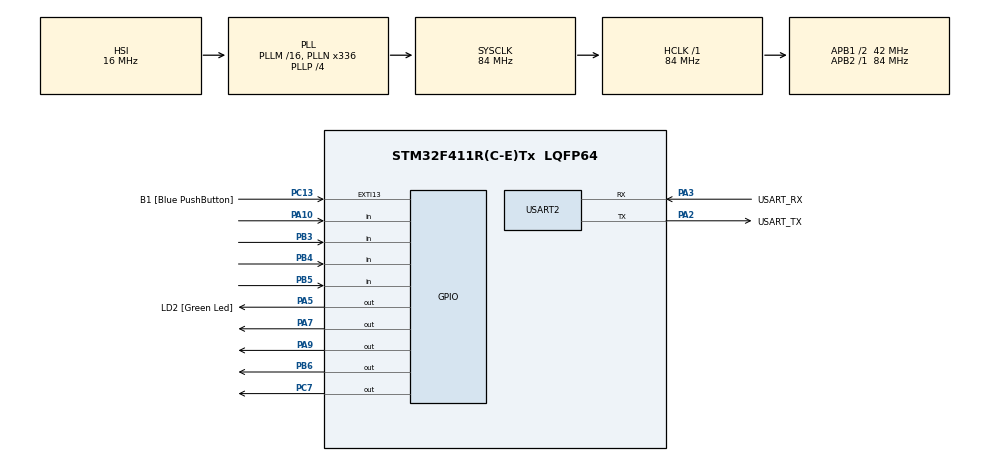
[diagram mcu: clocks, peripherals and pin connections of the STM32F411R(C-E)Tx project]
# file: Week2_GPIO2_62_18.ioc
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Mcu.Family=STM32F4
Mcu.Name=STM32F411R(C-E)Tx
Mcu.Package=LQFP64
NVIC.PriorityGroup=NVIC_PRIORITYGROUP_0
PA10.GPIO_PuPd=GPIO_PULLUP
PA10.Signal=GPIO_Input
PA13.GPIO_Label=TMS
PA13.Mode=Serial_Wire
PA13.Signal=SYS_JTMS-SWDIO
PA14.GPIO_Label=TCK
PA14.Mode=Serial_Wire
PA14.Signal=SYS_JTCK-SWCLK
PA2.GPIO_Label=USART_TX
PA2.Mode=Asynchronous
PA2.Signal=USART2_TX
PA3.GPIO_Label=USART_RX
PA3.Mode=Asynchronous
PA3.Signal=USART2_RX
PA5.GPIO_Label=LD2 [Green Led]
PA5.Signal=GPIO_Output
PA7.GPIO_ModeDefaultOutputPP=GPIO_MODE_OUTPUT_OD
PA7.PinState=GPIO_PIN_SET
PA7.Signal=GPIO_Output
PA9.GPIO_ModeDefaultOutputPP=GPIO_MODE_OUTPUT_OD
PA9.PinState=GPIO_PIN_SET
PA9.Signal=GPIO_Output
PB3.GPIO_PuPd=GPIO_PULLUP
PB3.Signal=GPIO_Input
PB4.GPIO_PuPd=GPIO_PULLUP
PB4.Signal=GPIO_Input
PB5.GPIO_PuPd=GPIO_PULLUP
PB5.Signal=GPIO_Input
PB6.GPIO_ModeDefaultOutputPP=GPIO_MODE_OUTPUT_OD
PB6.PinState=GPIO_PIN_SET
PB6.Signal=GPIO_Output
PC13-ANTI_TAMP.GPIO_Label=B1 [Blue PushButton]
PC13-ANTI_TAMP.GPIO_ModeDefaultEXTI=GPIO_MODE_IT_FALLING
PC13-ANTI_TAMP.Signal=GPXTI13
PC14-OSC32_IN.Mode=LSE-External-Oscillator
PC14-OSC32_IN.Signal=RCC_OSC32_IN
PC15-OSC32_OUT.Mode=LSE-External-Oscillator
PC15-OSC32_OUT.Signal=RCC_OSC32_OUT
PC7.GPIO_ModeDefaultOutputPP=GPIO_MODE_OUTPUT_OD
PC7.PinState=GPIO_PIN_SET
PC7.Signal=GPIO_Output
PH0\ -\ OSC_IN.Mode=HSE-External-Clock-Source
PH0\ -\ OSC_IN.Signal=RCC_OSC_IN
PH1\ -\ OSC_OUT.Mode=HSE-External-Clock-Source
PH1\ -\ OSC_OUT.Signal=RCC_OSC_OUT
ProjectManager.HeapSize=0x200
ProjectManager.StackSize=0x400
ProjectManager.TargetToolchain=STM32CubeIDE
RCC.48MHZClocksFreq_Value=84000000
RCC.AHBFreq_Value=84000000
RCC.APB1CLKDivider=RCC_HCLK_DIV2
RCC.APB1Freq_Value=42000000
RCC.APB1TimFreq_Value=84000000
RCC.APB2Freq_Value=84000000
RCC.APB2TimFreq_Value=84000000
RCC.CortexFreq_Value=84000000
RCC.FLatency-AdvancedSettings=FLASH_LATENCY_2
RCC.HCLKFreq_Value=84000000
RCC.HSE_VALUE=8000000
RCC.HSI_VALUE=16000000
RCC.PLLN=336
RCC.PLLP=RCC_PLLP_DIV4
RCC.SYSCLKFreq_VALUE=84000000
RCC.SYSCLKSource=RCC_SYSCLKSOURCE_PLLCLK
RCC.VCOOutputFreq_Value=336000000
USART2.VirtualMode=VM_ASYNC
board=NUCLEO-F411RE

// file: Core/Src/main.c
/* USER CODE BEGIN Header */
/**
 ******************************************************************************
 * @file           : main.c
 * @brief          : Main program body
 ******************************************************************************
 * @attention
 *
 * <h2><center>&copy; Copyright (c) 2021 STMicroelectronics.
 * All rights reserved.</center></h2>
 *
 * This software component is licensed by ST under BSD 3-Clause license,
 * the "License"; You may not use this file except in compliance with the
 * License. You may obtain a copy of the License at:
 *                        opensource.org/licenses/BSD-3-Clause
 *
 ******************************************************************************
 */
/* USER CODE END Header */
#include "main.h"

UART_HandleTypeDef huart2;

/* USER CODE BEGIN PV */
//save status of Button Matrix
uint16_t ButtonMatrixState = 0;

//Button TimeStamp
uint32_t ButtonMatrixTimestamp = 0;
/* USER CODE END PV */

void SystemClock_Config(void);
static void MX_GPIO_Init(void);
static void MX_USART2_UART_Init(void);
/* USER CODE BEGIN PFP */
// scan and update data of Button Matrix
void ButtonMatrixUpdate();
/* USER CODE END PFP */

/* USER CODE BEGIN 0 */
uint16_t SystemState[2];
uint8_t PasswordIsTrue = 0;
uint64_t PasswordGet = 0;
uint64_t PasswordCorrect = 62340500018;
/* USER CODE END 0 */

int main(void) {

	/* MCU Configuration--------------------------------------------------------*/

	/* Reset of all peripherals, Initializes the Flash interface and the Systick. */
	HAL_Init();

	/* Configure the system clock */
	SystemClock_Config();

	/* Initialize all configured peripherals */
	MX_GPIO_Init();
	MX_USART2_UART_Init();

	/* Infinite loop */
	while (1) {

		/* USER CODE BEGIN 3 */
		/*-----------------Key Map-------------------------------------------------------------
		 7	8	9	Clear					1E0		1E1		1E2		1E3
		 4	5	6	Backspace*		--\		1E4		1E5		1E6		1E7*
		 1	2	3					--/		1E8		1E9		1E10	1E11
		 0			Enter					1E12	1E13	1E14	1E15
		 --------------------------------------------------------------------------------------*/
		//function button
		ButtonMatrixUpdate();
		SystemState[0] = ButtonMatrixState;
		if (SystemState[0] != 0 && SystemState[1] == 0) {
			uint32_t BlinkTimeStamp = HAL_GetTick(); //Blink 1 time when Pressed
			while (HAL_GetTick() - BlinkTimeStamp < 300) {
				HAL_GPIO_WritePin(GPIOA, GPIO_PIN_5, GPIO_PIN_SET); //Set ON RESET OFF
			}
			switch (SystemState[0]) {
			case (0b1):
				PasswordGet = (PasswordGet * 10) + 7;
				break;
			case (0b10):
				PasswordGet = (PasswordGet * 10) + 8;
				break;
			case (0b100):
				PasswordGet = (PasswordGet * 10) + 9;
				break;
			case (0b10000):
				PasswordGet = (PasswordGet * 10) + 4;
				break;
			case (0b100000):
				PasswordGet = (PasswordGet * 10) + 5;
				break;
			case (0b1000000):
				PasswordGet = (PasswordGet * 10) + 6;
				break;
			case (0b100000000):
				PasswordGet = (PasswordGet * 10) + 1;
				break;
			case (0b1000000000):
				PasswordGet = (PasswordGet * 10) + 2;
				break;
			case (0b10000000000):
				PasswordGet = (PasswordGet * 10) + 3;
				break;
			case (0b1000000000000):
				PasswordGet = (PasswordGet * 10) + 0;
				break;
			case (0b1000):								// Clear
				PasswordGet = 0;
				break;
			case (0b10000000):							// BackSpace
				PasswordGet = PasswordGet / 10;
				break;
			case (0b1000000000000000):					// Enter
				if (PasswordGet == PasswordCorrect) {
					PasswordIsTrue = 1;
				}
				else{
					PasswordIsTrue = 0;
				}
				break;
			default:
				break;
			}
		}

		if (PasswordIsTrue == 1) {
			HAL_GPIO_WritePin(GPIOA, GPIO_PIN_5, GPIO_PIN_SET);
		} else {
			HAL_GPIO_WritePin(GPIOA, GPIO_PIN_5, GPIO_PIN_RESET);
		}
		SystemState[1] = SystemState[0];
	}
	/* USER CODE END 3 */
}

void SystemClock_Config(void) {
	RCC_OscInitTypeDef RCC_OscInitStruct = { 0 };
	RCC_ClkInitTypeDef RCC_ClkInitStruct = { 0 };

	/** Configure the main internal regulator output voltage
	 */
	__HAL_RCC_PWR_CLK_ENABLE();
	__HAL_PWR_VOLTAGESCALING_CONFIG(PWR_REGULATOR_VOLTAGE_SCALE1);
	/** Initializes the RCC Oscillators according to the specified parameters
	 * in the RCC_OscInitTypeDef structure.
	 */
	RCC_OscInitStruct.OscillatorType = RCC_OSCILLATORTYPE_HSI;
	RCC_OscInitStruct.HSIState = RCC_HSI_ON;
	RCC_OscInitStruct.HSICalibrationValue = RCC_HSICALIBRATION_DEFAULT;
	RCC_OscInitStruct.PLL.PLLState = RCC_PLL_ON;
	RCC_OscInitStruct.PLL.PLLSource = RCC_PLLSOURCE_HSI;
	RCC_OscInitStruct.PLL.PLLM = 16;
	RCC_OscInitStruct.PLL.PLLN = 336;
	RCC_OscInitStruct.PLL.PLLP = RCC_PLLP_DIV4;
	RCC_OscInitStruct.PLL.PLLQ = 4;
	if (HAL_RCC_OscConfig(&RCC_OscInitStruct) != HAL_OK) {
		Error_Handler();
	}
	/** Initializes the CPU, AHB and APB buses clocks
	 */
	RCC_ClkInitStruct.ClockType = RCC_CLOCKTYPE_HCLK | RCC_CLOCKTYPE_SYSCLK
			| RCC_CLOCKTYPE_PCLK1 | RCC_CLOCKTYPE_PCLK2;
	RCC_ClkInitStruct.SYSCLKSource = RCC_SYSCLKSOURCE_PLLCLK;
	RCC_ClkInitStruct.AHBCLKDivider = RCC_SYSCLK_DIV1;
	RCC_ClkInitStruct.APB1CLKDivider = RCC_HCLK_DIV2;
	RCC_ClkInitStruct.APB2CLKDivider = RCC_HCLK_DIV1;

	if (HAL_RCC_ClockConfig(&RCC_ClkInitStruct, FLASH_LATENCY_2) != HAL_OK) {
		Error_Handler();
	}
}

static void MX_USART2_UART_Init(void) {

	huart2.Instance = USART2;
	huart2.Init.BaudRate = 115200;
	huart2.Init.WordLength = UART_WORDLENGTH_8B;
	huart2.Init.StopBits = UART_STOPBITS_1;
	huart2.Init.Parity = UART_PARITY_NONE;
	huart2.Init.Mode = UART_MODE_TX_RX;
	huart2.Init.HwFlowCtl = UART_HWCONTROL_NONE;
	huart2.Init.OverSampling = UART_OVERSAMPLING_16;
	if (HAL_UART_Init(&huart2) != HAL_OK) {
		Error_Handler();
	}

}

static void MX_GPIO_Init(void) {
	GPIO_InitTypeDef GPIO_InitStruct = { 0 };

	/* GPIO Ports Clock Enable */
	__HAL_RCC_GPIOC_CLK_ENABLE();
	__HAL_RCC_GPIOH_CLK_ENABLE();
	__HAL_RCC_GPIOA_CLK_ENABLE();
	__HAL_RCC_GPIOB_CLK_ENABLE();

	/*Configure GPIO pin Output Level */
	HAL_GPIO_WritePin(LD2_GPIO_Port, LD2_Pin, GPIO_PIN_RESET);

	/*Configure GPIO pin Output Level */
	HAL_GPIO_WritePin(GPIOA, GPIO_PIN_7 | GPIO_PIN_9, GPIO_PIN_SET);

	/*Configure GPIO pin Output Level */
	HAL_GPIO_WritePin(GPIOC, GPIO_PIN_7, GPIO_PIN_SET);

	/*Configure GPIO pin Output Level */
	HAL_GPIO_WritePin(GPIOB, GPIO_PIN_6, GPIO_PIN_SET);

	/*Configure GPIO pin : B1_Pin */
	GPIO_InitStruct.Pin = B1_Pin;
	GPIO_InitStruct.Mode = GPIO_MODE_IT_FALLING;
	GPIO_InitStruct.Pull = GPIO_NOPULL;
	HAL_GPIO_Init(B1_GPIO_Port, &GPIO_InitStruct);

	/*Configure GPIO pin : LD2_Pin */
	GPIO_InitStruct.Pin = LD2_Pin;
	GPIO_InitStruct.Mode = GPIO_MODE_OUTPUT_PP;
	GPIO_InitStruct.Pull = GPIO_NOPULL;
	GPIO_InitStruct.Speed = GPIO_SPEED_FREQ_LOW;
	HAL_GPIO_Init(LD2_GPIO_Port, &GPIO_InitStruct);

	/*Configure GPIO pins : PA7 PA9 */
	GPIO_InitStruct.Pin = GPIO_PIN_7 | GPIO_PIN_9;
	GPIO_InitStruct.Mode = GPIO_MODE_OUTPUT_OD;
	GPIO_InitStruct.Pull = GPIO_NOPULL;
	GPIO_InitStruct.Speed = GPIO_SPEED_FREQ_LOW;
	HAL_GPIO_Init(GPIOA, &GPIO_InitStruct);

	/*Configure GPIO pin : PC7 */
	GPIO_InitStruct.Pin = GPIO_PIN_7;
	GPIO_InitStruct.Mode = GPIO_MODE_OUTPUT_OD;
	GPIO_InitStruct.Pull = GPIO_NOPULL;
	GPIO_InitStruct.Speed = GPIO_SPEED_FREQ_LOW;
	HAL_GPIO_Init(GPIOC, &GPIO_InitStruct);

	/*Configure GPIO pin : PA10 */
	GPIO_InitStruct.Pin = GPIO_PIN_10;
	GPIO_InitStruct.Mode = GPIO_MODE_INPUT;
	GPIO_InitStruct.Pull = GPIO_PULLUP;
	HAL_GPIO_Init(GPIOA, &GPIO_InitStruct);

	/*Configure GPIO pins : PB3 PB4 PB5 */
	GPIO_InitStruct.Pin = GPIO_PIN_3 | GPIO_PIN_4 | GPIO_PIN_5;
	GPIO_InitStruct.Mode = GPIO_MODE_INPUT;
	GPIO_InitStruct.Pull = GPIO_PULLUP;
	HAL_GPIO_Init(GPIOB, &GPIO_InitStruct);

	/*Configure GPIO pin : PB6 */
	GPIO_InitStruct.Pin = GPIO_PIN_6;
	GPIO_InitStruct.Mode = GPIO_MODE_OUTPUT_OD;
	GPIO_InitStruct.Pull = GPIO_NOPULL;
	GPIO_InitStruct.Speed = GPIO_SPEED_FREQ_LOW;
	HAL_GPIO_Init(GPIOB, &GPIO_InitStruct);

}

/* USER CODE BEGIN 4 */
//Port/Pin array = 0-3 input, 4-7 output
GPIO_TypeDef *ButtonMatrixPort[8] = { GPIOA, GPIOB, GPIOB, GPIOB, GPIOA, GPIOC,
GPIOB, GPIOA };

uint16_t ButtonMatrixPin[8] = { GPIO_PIN_10, GPIO_PIN_3, GPIO_PIN_5, GPIO_PIN_4,
GPIO_PIN_9, GPIO_PIN_7, GPIO_PIN_6, GPIO_PIN_7 };

uint8_t ButtonMatrixRow = 0;	// What R Now

void ButtonMatrixUpdate() {
	if (HAL_GetTick() - ButtonMatrixTimestamp >= 100) {
		ButtonMatrixTimestamp = HAL_GetTick();
		int i;
		for (i = 0; i < 4; i++) { // 0-3
			GPIO_PinState PinState = HAL_GPIO_ReadPin(ButtonMatrixPort[i],
					ButtonMatrixPin[i]);
			if (PinState == GPIO_PIN_RESET) // Button is Pressed
					{
				ButtonMatrixState |= (uint16_t) 0x1
						<< (i + ButtonMatrixRow * 4); // 0b0000000000000000 | 0b1000
			} else {
				ButtonMatrixState &= ~((uint16_t) 0x1
						<< (i + ButtonMatrixRow * 4)); // 0b0000000000000000 & ~(0b1000)
			}
		}
		uint8_t NowOutputPin = ButtonMatrixRow + 4;
		// Set Rn
		HAL_GPIO_WritePin(ButtonMatrixPort[NowOutputPin],
				ButtonMatrixPin[NowOutputPin], GPIO_PIN_SET);

		// update New Row
		ButtonMatrixRow = (ButtonMatrixRow + 1) % 4;

		uint8_t NextOutputPin = ButtonMatrixRow + 4;
		// Set Rn+1
		HAL_GPIO_WritePin(ButtonMatrixPort[NextOutputPin],
				ButtonMatrixPin[NextOutputPin], GPIO_PIN_RESET);

	}
}
/* USER CODE END 4 */

void Error_Handler(void) {
	__disable_irq();
	while (1) {
	}
}

/************************ (C) COPYRIGHT STMicroelectronics *****END OF FILE****/
